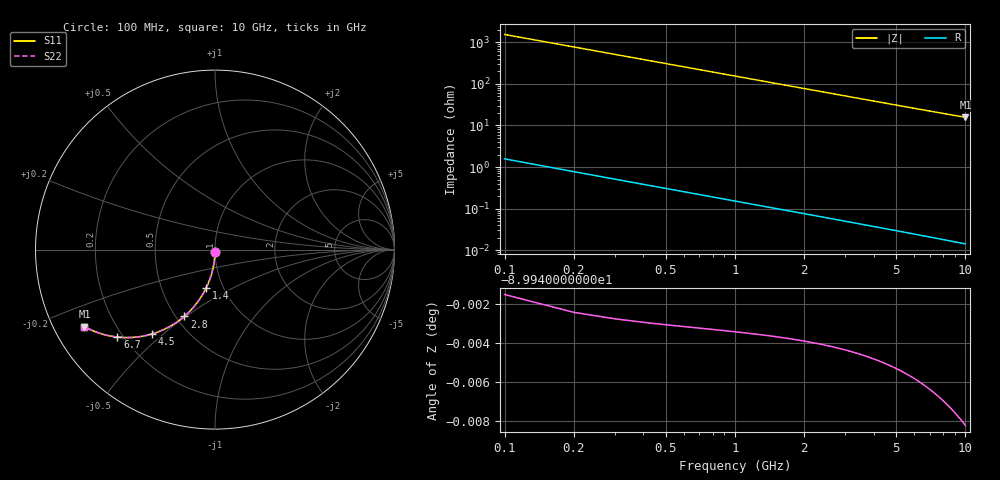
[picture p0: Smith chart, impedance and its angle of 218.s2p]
# Hz S RI R 50.00
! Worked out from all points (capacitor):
!   100 points, 100 MHz to 10 GHz, reference 50 ohm
!   read as one part in shunt: C = 1.03 pF near 100 MHz
!   lowest |Z| = 15.7 ohm at 10 GHz (marker M1)
!   S11 on the Smith chart (normalised r, x): 100 MHz: 1.00, -0.03; 1.4 GHz: 0.83, -0.37; 2.8 GHz: 0.55, -0.49; 4.5 GHz: 0.32, -0.46; 6.7 GHz: 0.18, -0.37; 10 GHz: 0.09, -0.27
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1e8  -0.000224 -0.0161  0.9997 -0.0164  0.9997 -0.0164  -0.000224 -0.0161
2e8  -0.00103 -0.0321  0.9989 -0.0327  0.9989 -0.0327  -0.00103 -0.0321
3e8  -0.00236 -0.0481  0.9975 -0.049  0.9975 -0.049  -0.00236 -0.0481
4e8  -0.00421 -0.0641  0.9957 -0.0653  0.9957 -0.0653  -0.00421 -0.0641
5e8  -0.00657 -0.0799  0.9933 -0.0814  0.9933 -0.0814  -0.00657 -0.0799
6e8  -0.00944 -0.0956  0.9904 -0.0974  0.9904 -0.0974  -0.00944 -0.0956
7e8  -0.0128 -0.1111  0.9871 -0.1132  0.9871 -0.1132  -0.0128 -0.1111
9e8  -0.021 -0.1417  0.9789 -0.1444  0.9789 -0.1444  -0.021 -0.1417
1.1e9  -0.031 -0.1714  0.9689 -0.1747  0.9689 -0.1747  -0.031 -0.1714
1.4e9  -0.0493 -0.214  0.9506 -0.2182  0.9506 -0.2182  -0.0493 -0.214
1.8e9  -0.0789 -0.2665  0.921 -0.2719  0.921 -0.2719  -0.0789 -0.2665
2.3e9  -0.1227 -0.3241  0.8772 -0.3311  0.8772 -0.3311  -0.1227 -0.3241
2.8e9  -0.1716 -0.3724  0.8282 -0.3808  0.8282 -0.3808  -0.1716 -0.3724
3.4e9  -0.234 -0.4178  0.7658 -0.4281  0.7658 -0.4281  -0.234 -0.4178
3.9e9  -0.2867 -0.4459  0.7131 -0.4577  0.7131 -0.4577  -0.2867 -0.4459
4.5e9  -0.3487 -0.4693  0.6511 -0.4829  0.6511 -0.4829  -0.3487 -0.4693
5.1e9  -0.4076 -0.4831  0.5921 -0.4987  0.5921 -0.4987  -0.4076 -0.4831
5.9e9  -0.4796 -0.4901  0.5201 -0.5081  0.5201 -0.5081  -0.4796 -0.4901
6.7e9  -0.5433 -0.4873  0.4563 -0.5079  0.4563 -0.5079  -0.5433 -0.4873
7.5e9  -0.5988 -0.4781  0.4008 -0.5011  0.4008 -0.5011  -0.5988 -0.4781
8.4e9  -0.6522 -0.4627  0.3473 -0.4886  0.3473 -0.4886  -0.6522 -0.4627
1e10  -0.7273 -0.4291  0.2721 -0.4602  0.2721 -0.4602  -0.7273 -0.4291
